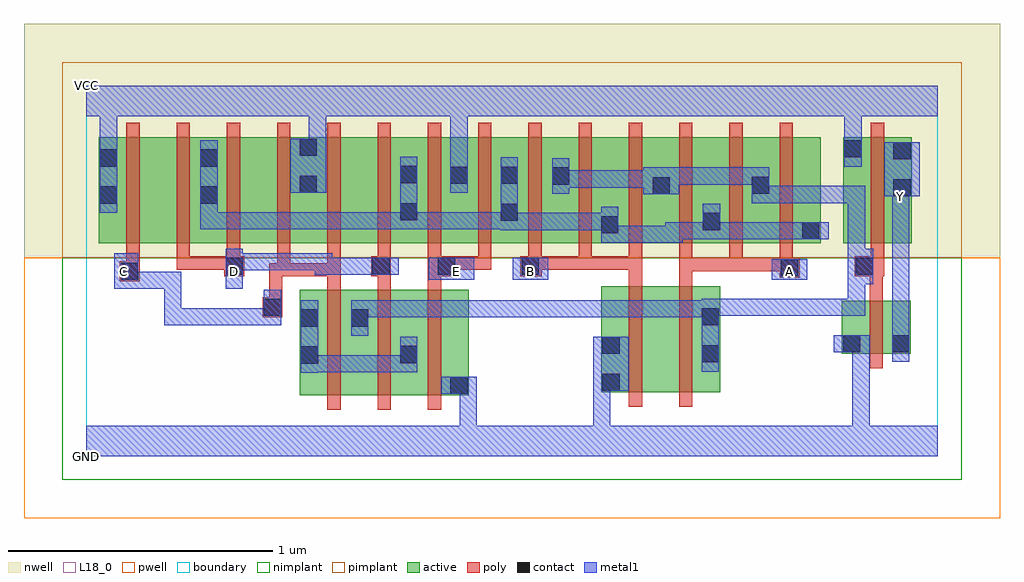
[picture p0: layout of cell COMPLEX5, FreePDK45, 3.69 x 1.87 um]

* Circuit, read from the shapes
.subckt COMPLEX5 A B C D E GND VCC Y
M1 n1 C n2 VSUBS nfet w=0.4u l=0.05u
M2 n2 D n1 VSUBS nfet w=0.4u l=0.05u
M3 GND E n2 VSUBS nfet w=0.4u l=0.05u
M4 n3 B GND VSUBS nfet w=0.4u l=0.05u
M5 n1 A n3 VSUBS nfet w=0.4u l=0.05u
M6 Y n1 GND VSUBS nfet w=0.2u l=0.05u
M7 n4 C VCC n5 pfet w=0.4u l=0.05u
M8 n6 D n4 n5 pfet w=0.4u l=0.05u
M9 n7 D n6 n5 pfet w=0.4u l=0.05u
M10 VCC C n7 n5 pfet w=0.4u l=0.05u
M11 n8 C VCC n5 pfet w=0.4u l=0.05u
M12 n6 D n8 n5 pfet w=0.4u l=0.05u
M13 VCC E n6 n5 pfet w=0.4u l=0.05u m=2
M14 n1 B n6 n5 pfet w=0.4u l=0.05u m=3
M15 n6 A n1 n5 pfet w=0.4u l=0.05u m=3
M16 Y n1 VCC n5 pfet w=0.4u l=0.05u
.ends

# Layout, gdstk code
import gdstk
lib = gdstk.Library(unit=1e-6, precision=1e-09)
def R(c, l, rs):  # rectangles x0, y0, x1, y1
    for r in rs: c.add(gdstk.rectangle(r[:2], r[2:], *l))
def A(c, l, x, y, w, h, nx, ny, dx, dy):  # array of equal rectangles
    R(c, l, [(x+i*dx, y+j*dy, x+i*dx+w, y+j*dy+h) for i in range(nx) for j in range(ny)])
active = (1, 0)
pwell = (2, 0)
nwell = (3, 0)
nimplant = (4, 0)
pimplant = (5, 0)
poly = (9, 0)
contact = (10, 0)
metal1 = (11, 0)
L18_0 = (18, 0)
boundary = (235, 0)

complex5 = lib.new_cell('COMPLEX5')
R(complex5, active, [(0.807,0.23,1.072,0.63), (0.997,0.23,1.257,0.63), (1.182,0.23,1.447,0.63), (1.372,0.23,1.447,0.63), (1.947,0.242,2.022,0.642), (1.947,0.242,2.172,0.642), (2.172,0.242,2.397,0.642), (2.322,0.242,2.397,0.642), (0.807,0.295,0.882,0.63), (0.997,0.295,1.072,0.56), (1.182,0.295,1.257,0.492), (2.857,0.387,2.932,0.587), (2.857,0.387,3.117,0.587), (3.042,0.387,3.117,0.587), (0.047,0.805,0.122,1.205), (0.047,0.805,0.272,1.205), (0.272,0.805,0.502,1.205), (0.427,0.805,0.652,1.205), (0.652,0.805,0.877,1.205), (0.802,0.805,0.877,1.205), (0.802,0.805,1.032,1.205), (1.032,0.805,1.257,1.205), (1.182,0.805,1.447,1.205), (1.182,0.805,1.257,1.2), (1.372,0.805,1.637,1.205), (1.562,0.805,1.637,1.2), (1.562,0.805,1.832,1.205), (1.757,0.805,2.017,1.205), (1.942,0.805,2.017,1.07), (1.942,0.805,2.212,1.205), (2.137,0.805,2.402,1.205), (2.137,0.805,2.212,1.2), (2.327,0.805,2.587,1.205), (2.327,0.805,2.402,1.07), (2.512,0.805,2.777,1.205), (2.702,0.805,2.777,1.047), (2.862,0.805,3.122,1.205), (3.047,0.805,3.122,1.2), (0.427,0.907,0.502,1.2), (1.372,0.907,1.447,1.205), (1.757,0.907,1.832,1.2), (2.512,0.907,2.587,1.2), (2.862,0.907,2.937,1.205)])
R(complex5, pwell, [(-0.235,-0.235,3.455,0.75)])
R(complex5, nwell, [(-0.235,0.75,3.455,1.635)])
R(complex5, nimplant, [(-0.09,-0.09,3.31,0.75)])
R(complex5, pimplant, [(-0.09,0.75,3.31,1.49)])
A(complex5, poly, 0.912, 0.175, 0.05, 0.51, 3, 1, 0.19, 0)
A(complex5, poly, 0.912, 0.635, 0.05, 0.095, 3, 1, 0.19, 0)
A(complex5, poly, 2.242, 0.7, 0.05, 0.1, 3, 1, 0.19, 0)
A(complex5, poly, 1.102, 0.705, 0.05, 0.095, 6, 1, 0.19, 0)
A(complex5, poly, 0.152, 0.75, 0.05, 0.51, 14, 1, 0.19, 0)
R(complex5, poly, [(2.052,0.187,2.102,0.697), (2.242,0.187,2.292,0.697), (2.962,0.332,3.012,0.642), (0.667,0.525,0.742,0.6), (0.692,0.55,0.742,0.73), (2.962,0.592,3.012,0.73), (2.052,0.647,2.102,0.755), (2.242,0.647,2.292,0.75), (0.127,0.662,0.202,0.737), (2.622,0.675,2.697,0.75), (0.522,0.68,0.597,0.755), (0.692,0.68,0.742,0.73), (0.692,0.68,0.742,0.73), (0.692,0.68,0.772,0.73), (0.722,0.68,0.962,0.73), (0.722,0.68,0.772,0.73), (0.722,0.68,0.772,0.73), (0.722,0.68,0.772,0.8), (0.912,0.68,0.962,0.73), (0.912,0.68,0.962,0.8), (1.077,0.68,1.152,0.755), (1.292,0.68,1.4,0.755), (1.642,0.68,1.722,0.755), (2.905,0.68,3.017,0.755), (0.152,0.687,0.202,0.8), (2.242,0.7,2.482,0.75), (2.242,0.7,2.292,0.75), (2.242,0.7,2.292,0.75), (2.242,0.7,2.292,0.75), (2.432,0.7,2.672,0.75), (2.432,0.7,2.482,0.75), (2.432,0.7,2.482,0.75), (2.432,0.7,2.482,0.75), (0.342,0.705,0.392,0.8), (0.342,0.705,0.392,0.755), (0.342,0.705,0.572,0.755), (0.522,0.705,0.572,0.755), (0.522,0.705,0.572,0.755), (0.532,0.705,0.582,0.8), (1.35,0.705,1.4,0.755), (1.35,0.705,1.4,0.755), (1.35,0.705,1.532,0.755), (1.482,0.705,1.532,0.755), (1.672,0.705,1.912,0.755), (1.862,0.705,2.102,0.755), (1.862,0.705,1.912,0.755), (1.862,0.705,1.912,0.755), (1.862,0.705,1.912,0.755), (2.052,0.705,2.102,0.755), (2.052,0.705,2.102,0.755), (2.052,0.705,2.102,0.755), (2.967,0.705,3.017,0.8), (2.967,0.75,3.017,1.26)])
R(complex5, contact, [(1.377,0.235,1.442,0.3), (1.952,0.247,2.017,0.312), (0.812,0.35,0.877,0.415), (1.187,0.352,1.252,0.417), (2.327,0.355,2.392,0.42), (1.952,0.387,2.017,0.452), (2.862,0.392,2.927,0.457), (3.047,0.392,3.112,0.457), (0.812,0.49,0.877,0.555), (1.002,0.49,1.067,0.555), (2.327,0.495,2.392,0.56), (0.672,0.53,0.737,0.595), (0.132,0.667,0.197,0.732), (2.627,0.68,2.692,0.745), (0.527,0.685,0.592,0.75), (1.082,0.685,1.147,0.75), (1.33,0.685,1.395,0.75), (1.647,0.685,1.712,0.75), (2.91,0.685,2.975,0.75), (2.707,0.82,2.772,0.885), (1.947,0.842,2.012,0.907), (2.332,0.855,2.397,0.92), (1.567,0.89,1.632,0.955), (1.187,0.892,1.252,0.957), (0.052,0.955,0.117,1.02), (0.432,0.955,0.497,1.02), (3.052,0.982,3.117,1.047), (2.142,0.99,2.207,1.055), (2.517,0.992,2.582,1.057), (0.807,0.995,0.872,1.06), (1.762,1.027,1.827,1.092), (1.377,1.03,1.442,1.095), (1.567,1.03,1.632,1.095), (1.187,1.032,1.252,1.097), (0.052,1.095,0.117,1.16), (0.432,1.095,0.497,1.16), (3.052,1.122,3.117,1.187), (2.867,1.13,2.932,1.195), (0.807,1.135,0.872,1.2)])
R(complex5, metal1, [(0,0,3.22,0.115), (1.412,0.05,1.477,0.3), (1.917,0.05,1.982,0.115), (1.917,0.05,1.982,0.115), (1.917,0.05,1.982,0.312), (2.897,0.05,2.962,0.115), (2.897,0.05,2.962,0.115), (2.897,0.05,2.962,0.115), (2.897,0.05,2.962,0.115), (2.897,0.05,2.962,0.457), (1.342,0.235,1.477,0.3), (1.412,0.235,1.477,0.3), (1.412,0.235,1.477,0.3), (1.917,0.247,2.052,0.452), (0.812,0.315,0.877,0.59), (0.812,0.317,0.877,0.382), (0.812,0.317,0.877,0.382), (0.812,0.317,1.115,0.382), (1.05,0.317,1.115,0.382), (1.05,0.317,1.115,0.382), (1.05,0.317,1.115,0.382), (1.05,0.317,1.252,0.382), (1.187,0.317,1.252,0.452), (2.327,0.32,2.392,0.595), (3.047,0.357,3.112,0.492), (2.827,0.392,2.962,0.457), (2.897,0.392,2.962,0.457), (2.897,0.392,2.962,0.457), (3.047,0.427,3.112,0.977), (1.002,0.455,1.067,0.59), (0.295,0.495,0.36,0.56), (0.295,0.495,0.6,0.56), (0.295,0.495,0.36,0.697), (0.535,0.495,0.6,0.56), (0.535,0.495,0.692,0.56), (0.627,0.495,0.692,0.56), (0.627,0.495,0.692,0.56), (0.627,0.495,0.692,0.56), (0.627,0.495,0.737,0.56), (0.672,0.495,0.737,0.63), (1.002,0.525,1.067,0.59), (1.002,0.525,1.067,0.59), (1.002,0.525,1.252,0.59), (1.187,0.525,1.252,0.59), (1.187,0.525,1.252,0.59), (1.187,0.525,1.252,0.59), (1.187,0.525,1.39,0.59), (1.325,0.525,1.39,0.59), (1.325,0.525,1.39,0.59), (1.325,0.525,1.39,0.59), (1.325,0.525,1.632,0.59), (1.567,0.525,1.632,0.59), (1.567,0.525,1.632,0.59), (1.567,0.525,1.632,0.59), (1.567,0.525,1.842,0.59), (1.777,0.525,1.842,0.59), (1.777,0.525,1.98,0.59), (1.915,0.525,1.98,0.59), (1.915,0.525,1.98,0.59), (1.915,0.525,1.98,0.59), (1.915,0.525,2.117,0.59), (2.052,0.525,2.117,0.59), (2.052,0.525,2.255,0.59), (2.19,0.525,2.255,0.59), (2.19,0.525,2.255,0.59), (2.19,0.525,2.255,0.59), (2.19,0.525,2.392,0.59), (2.327,0.53,2.392,0.595), (2.327,0.53,2.392,0.595), (2.327,0.53,2.6,0.595), (2.535,0.53,2.6,0.595), (2.535,0.53,2.6,0.595), (2.535,0.53,2.6,0.595), (2.535,0.53,2.837,0.595), (2.772,0.53,2.837,0.595), (2.772,0.53,2.945,0.595), (2.88,0.53,2.945,0.595), (2.88,0.53,2.945,0.785), (0.107,0.632,0.197,0.767), (0.132,0.632,0.197,0.697), (0.132,0.632,0.197,0.697), (0.132,0.632,0.36,0.697), (0.295,0.632,0.36,0.697), (0.295,0.632,0.36,0.697), (0.295,0.632,0.36,0.697), (0.527,0.632,0.592,0.785), (2.91,0.65,2.975,0.785), (1.295,0.667,1.467,0.75), (1.612,0.667,1.747,0.75), (2.592,0.667,2.727,0.745), (0.865,0.685,0.93,0.75), (0.865,0.685,0.93,0.75), (0.865,0.685,1.112,0.75), (0.865,0.685,0.93,0.767), (1.047,0.685,1.112,0.75), (1.047,0.685,1.112,0.75), (1.047,0.685,1.182,0.75), (0.527,0.702,0.635,0.767), (0.57,0.702,0.635,0.767), (0.57,0.702,0.737,0.767), (0.672,0.702,0.737,0.767), (0.672,0.702,0.93,0.767), (2.88,0.72,2.945,0.785), (2.88,0.72,2.945,0.785), (2.88,0.72,2.945,0.785), (2.88,0.72,2.975,0.785), (2.88,0.72,2.945,1.022), (1.947,0.807,2.012,0.942), (1.947,0.807,2.117,0.872), (2.052,0.807,2.117,0.872), (2.052,0.807,2.255,0.872), (2.19,0.807,2.255,0.885), (2.19,0.82,2.255,0.885), (2.19,0.82,2.255,0.885), (2.19,0.82,2.397,0.885), (2.332,0.82,2.397,0.885), (2.332,0.82,2.397,0.885), (2.332,0.82,2.397,0.955), (2.332,0.82,2.535,0.885), (2.47,0.82,2.535,0.885), (2.47,0.82,2.737,0.885), (2.672,0.82,2.737,0.885), (2.672,0.82,2.737,0.885), (2.672,0.82,2.807,0.885), (1.567,0.855,1.632,0.92), (1.567,0.855,1.632,0.92), (1.567,0.855,1.77,0.92), (1.567,0.855,1.632,1.13), (1.705,0.855,1.77,0.92), (1.705,0.855,1.77,0.92), (1.705,0.855,1.77,0.92), (1.705,0.855,2.012,0.92), (0.432,0.857,0.655,0.922), (0.432,0.857,0.497,0.985), (0.59,0.857,0.655,0.922), (0.59,0.857,0.737,0.922), (0.672,0.857,0.737,0.922), (0.672,0.857,0.875,0.922), (0.81,0.857,0.875,0.922), (0.81,0.857,0.875,0.922), (0.81,0.857,0.875,0.922), (0.81,0.857,1.115,0.922), (1.05,0.857,1.115,0.922), (1.05,0.857,1.115,0.922), (1.05,0.857,1.115,0.922), (1.05,0.857,1.252,0.922), (1.187,0.857,1.252,0.922), (1.187,0.857,1.252,0.922), (1.187,0.857,1.39,0.922), (1.187,0.857,1.252,1.132), (1.325,0.857,1.39,0.922), (1.325,0.857,1.39,0.922), (1.325,0.857,1.39,0.922), (1.325,0.857,1.632,0.922), (3.047,0.912,3.112,1.047), (0.052,0.92,0.117,1.195), (0.432,0.92,0.497,0.985), (0.432,0.92,0.497,1.195), (2.517,0.957,2.582,1.092), (2.517,0.957,2.737,1.022), (2.672,0.957,2.737,1.022), (2.672,0.957,2.737,1.022), (2.672,0.957,2.737,1.022), (2.672,0.957,2.945,1.022), (2.88,0.957,2.945,1.022), (3.017,0.982,3.152,1.187), (3.047,0.982,3.112,1.047), (2.107,0.99,2.242,1.092), (1.762,0.992,1.827,1.127), (0.772,0.995,0.907,1.2), (1.377,0.995,1.442,1.13), (1.762,1.015,1.827,1.08), (1.762,1.015,1.827,1.08), (1.762,1.015,2.035,1.08), (1.97,1.015,2.035,1.08), (1.97,1.015,2.117,1.08), (2.052,1.015,2.117,1.08), (2.052,1.015,2.172,1.08), (2.177,1.027,2.255,1.092), (2.19,1.027,2.255,1.092), (2.19,1.027,2.392,1.092), (2.327,1.027,2.392,1.092), (2.327,1.027,2.392,1.092), (2.327,1.027,2.392,1.092), (2.327,1.027,2.582,1.092), (1.377,1.065,1.442,1.35), (2.867,1.095,2.932,1.23), (0.052,1.13,0.117,1.35), (0.842,1.135,0.907,1.35), (2.867,1.165,2.932,1.35), (0,1.285,3.22,1.4)])
R(complex5, L18_0, [(0,0,3.22,0.115), (1.412,0.05,1.477,0.3), (1.917,0.05,1.982,0.115), (1.917,0.05,1.982,0.115), (1.917,0.05,1.982,0.312), (2.897,0.05,2.962,0.115), (2.897,0.05,2.962,0.115), (2.897,0.05,2.962,0.115), (2.897,0.05,2.962,0.115), (2.897,0.05,2.962,0.457), (1.342,0.235,1.477,0.3), (1.412,0.235,1.477,0.3), (1.412,0.235,1.477,0.3), (1.917,0.247,2.052,0.452), (3.047,0.357,3.112,0.492), (2.827,0.392,2.962,0.457), (2.897,0.392,2.962,0.457), (2.897,0.392,2.962,0.457), (3.047,0.427,3.112,0.977), (0.295,0.495,0.36,0.56), (0.295,0.495,0.36,0.697), (0.295,0.495,0.6,0.56), (0.535,0.495,0.6,0.56), (0.535,0.495,0.692,0.56), (0.627,0.495,0.692,0.56), (0.627,0.495,0.692,0.56), (0.627,0.495,0.692,0.56), (0.627,0.495,0.737,0.56), (0.672,0.495,0.737,0.63), (0.107,0.632,0.197,0.767), (0.132,0.632,0.197,0.697), (0.132,0.632,0.197,0.697), (0.132,0.632,0.36,0.697), (0.295,0.632,0.36,0.697), (0.295,0.632,0.36,0.697), (0.295,0.632,0.36,0.697), (0.527,0.632,0.592,0.785), (0.107,0.667,0.172,0.732), (0.527,0.667,0.592,0.732), (1.295,0.667,1.467,0.75), (1.367,0.667,1.432,0.732), (1.612,0.667,1.747,0.75), (1.647,0.667,1.712,0.732), (2.592,0.667,2.727,0.745), (2.627,0.667,2.692,0.732), (0.865,0.685,0.93,0.75), (0.865,0.685,0.93,0.75), (0.865,0.685,0.93,0.767), (0.865,0.685,1.112,0.75), (1.047,0.685,1.112,0.75), (1.047,0.685,1.112,0.75), (1.047,0.685,1.182,0.75), (0.527,0.702,0.635,0.767), (0.57,0.702,0.635,0.767), (0.57,0.702,0.737,0.767), (0.672,0.702,0.737,0.767), (0.672,0.702,0.93,0.767), (3.047,0.912,3.112,1.047), (0.052,0.92,0.117,1.195), (3.047,0.947,3.112,1.012), (3.017,0.982,3.152,1.187), (3.047,0.982,3.112,1.047), (0.772,0.995,0.907,1.2), (1.377,0.995,1.442,1.13), (1.377,1.065,1.442,1.35), (2.867,1.095,2.932,1.23), (0.052,1.13,0.117,1.35), (0.842,1.135,0.907,1.35), (2.867,1.165,2.932,1.35), (0,1.285,3.22,1.4)])
R(complex5, boundary, [(0,0,3.22,1.4)])
complex5.add(gdstk.Label('A', (2.66,0.7), layer=11, texttype=0))
complex5.add(gdstk.Label('B', (1.68,0.7), layer=11, texttype=0))
complex5.add(gdstk.Label('C', (0.14,0.7), layer=11, texttype=0))
complex5.add(gdstk.Label('D', (0.56,0.7), layer=11, texttype=0))
complex5.add(gdstk.Label('E', (1.4,0.7), layer=11, texttype=0))
complex5.add(gdstk.Label('Y', (3.08,0.98), layer=11, texttype=0))
complex5.add(gdstk.Label('VCC', (0,1.4), layer=11, texttype=0))
complex5.add(gdstk.Label('GND', (0,0), layer=11, texttype=0))

lib.write_gds('COMPLEX5.gds')
